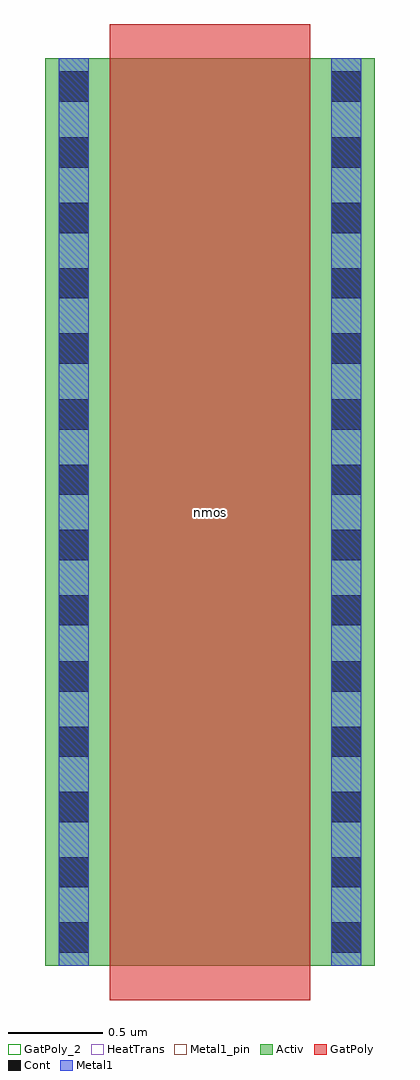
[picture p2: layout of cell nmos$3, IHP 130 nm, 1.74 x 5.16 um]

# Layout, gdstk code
import gdstk
lib = gdstk.Library(unit=1e-6, precision=1e-09)
def R(c, l, rs):  # rectangles x0, y0, x1, y1
    for r in rs: c.add(gdstk.rectangle(r[:2], r[2:], *l))
def A(c, l, x, y, w, h, nx, ny, dx, dy):  # array of equal rectangles
    R(c, l, [(x+i*dx, y+j*dy, x+i*dx+w, y+j*dy+h) for i in range(nx) for j in range(ny)])
Activ = (1, 0)
GatPoly = (5, 0)
GatPoly_2 = (5, 2)
Cont = (6, 0)
Metal1 = (8, 0)
Metal1_pin = (8, 2)
HeatTrans = (51, 0)

nmos_3 = lib.new_cell('nmos$3')
R(nmos_3, Activ, [(0,0,0.3,0.3), (0,0,1.74,4.8), (1.44,0,1.74,0.3)])
R(nmos_3, GatPoly, [(0.34,-0.18,1.4,4.98)])
R(nmos_3, GatPoly_2, [(0.34,-0.18,1.4,4.98)])
A(nmos_3, Cont, 0.07, 0.07, 0.16, 0.16, 1, 5, 0, 0.345)
A(nmos_3, Cont, 1.51, 0.07, 0.16, 0.16, 1, 5, 0, 0.345)
A(nmos_3, Cont, 0.07, 1.8, 0.16, 0.16, 1, 4, 0, 0.345)
A(nmos_3, Cont, 1.51, 1.8, 0.16, 0.16, 1, 4, 0, 0.345)
A(nmos_3, Cont, 0.07, 3.185, 0.16, 0.16, 1, 4, 0, 0.345)
A(nmos_3, Cont, 1.51, 3.185, 0.16, 0.16, 1, 4, 0, 0.345)
R(nmos_3, Cont, [(0.07,4.57,0.23,4.73), (1.51,4.57,1.67,4.73)])
R(nmos_3, Metal1, [(0.07,0,0.23,4.8), (1.51,0,1.67,4.8)])
R(nmos_3, Metal1_pin, [(0.07,0,0.23,4.8), (1.51,0,1.67,4.8)])
R(nmos_3, HeatTrans, [(0.34,-0.18,1.4,4.98)])
nmos_3.add(gdstk.Label('nmos', (0.87,2.4), layer=63, texttype=0))
nmos_3.add(gdstk.Label('nmos', (0.87,2.4), layer=51, texttype=0))

lib.write_gds('nmos_3.gds')
